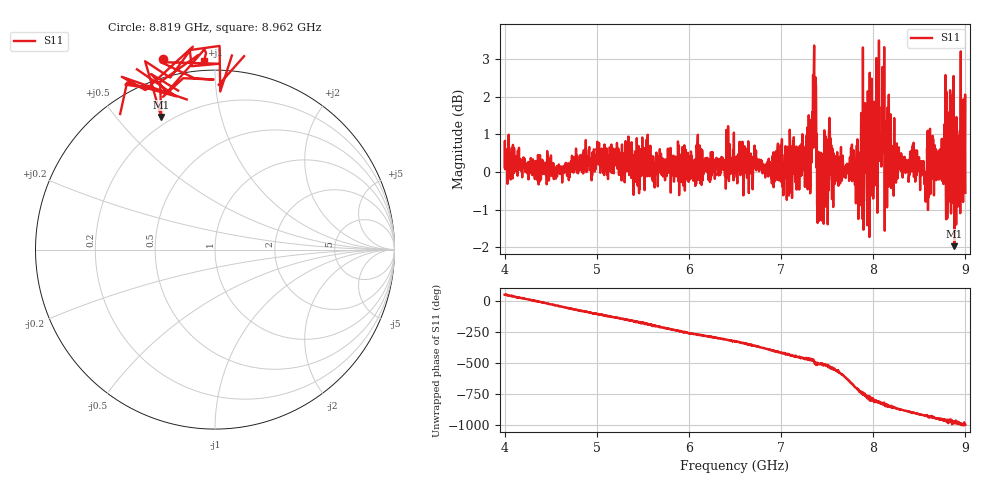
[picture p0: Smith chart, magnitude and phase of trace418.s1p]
! Created with skrf 1.8.0 (http://scikit-rf.org).
# Hz S RI R 50.0
!freq ReS11 ImS11
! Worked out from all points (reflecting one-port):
!   1601 points, 4 GHz to 9 GHz, reference 50 ohm
!   lowest |S11| = -2.0 dB at 8.881 GHz (marker M1), VSWR 8.83, Z = 8.18 + j33.1 ohm
!   phase of S11 starts at 51 deg and turns -1046 deg over the sweep
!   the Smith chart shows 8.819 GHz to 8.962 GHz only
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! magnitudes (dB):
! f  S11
! 4 GHz  0.1
! 4.625 GHz  -0.3
! 5.25 GHz  -0.1
! 5.875 GHz  0.2
! 6.5 GHz  0.3
! 7.125 GHz  0.5
! 7.306 GHz  0.2
! 7.356 GHz  2.7
! 7.369 GHz  2.0
! 7.4 GHz  -0.3
! 7.416 GHz  -1.3
! 7.509 GHz  -0.3
! 7.566 GHz  -0.9
! 7.75 GHz  -0.2
! 7.859 GHz  0.5
! 7.928 GHz  0.7
! 8.066 GHz  1.0
! 8.097 GHz  0.9
! 8.15 GHz  -0.9
! 8.375 GHz  0.2
! 8.578 GHz  -0.1
! 8.631 GHz  0.7
! 8.825 GHz  1.3
! 8.834 GHz  2.2
! 8.881 GHz  -2.0
! 8.903 GHz  1.5
! 8.972 GHz  0.7
! 9 GHz  -0.6
